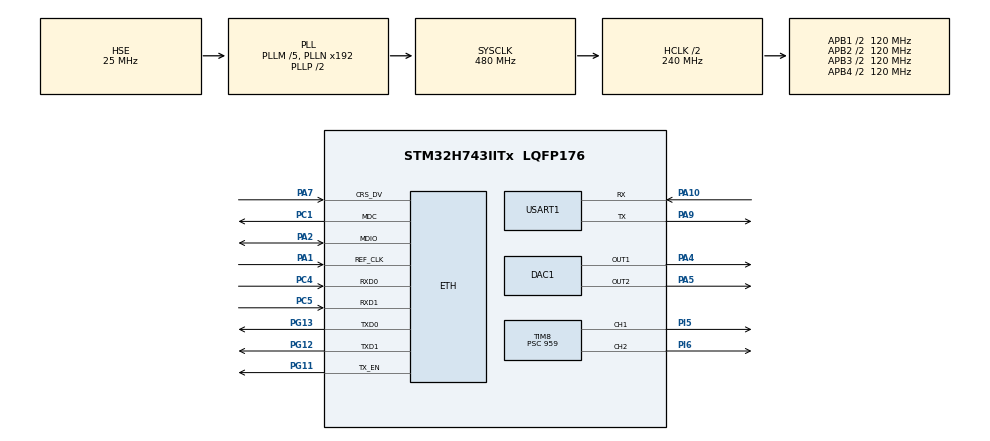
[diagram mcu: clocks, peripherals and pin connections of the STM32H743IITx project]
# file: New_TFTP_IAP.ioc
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CORTEX_M7.AccessPermission-Cortex_Memory_Protection_Unit_Region0_Settings=MPU_REGION_FULL_ACCESS
CORTEX_M7.AccessPermission-Cortex_Memory_Protection_Unit_Region1_Settings=MPU_REGION_FULL_ACCESS
CORTEX_M7.BaseAddress-Cortex_Memory_Protection_Unit_Region0_Settings=0x30040000
CORTEX_M7.BaseAddress-Cortex_Memory_Protection_Unit_Region1_Settings=0x30044000
CORTEX_M7.CPU_DCache=Enabled
CORTEX_M7.CPU_ICache=Enabled
CORTEX_M7.Enable-Cortex_Memory_Protection_Unit_Region0_Settings=MPU_REGION_ENABLE
CORTEX_M7.Enable-Cortex_Memory_Protection_Unit_Region1_Settings=MPU_REGION_ENABLE
CORTEX_M7.IsBufferable-Cortex_Memory_Protection_Unit_Region0_Settings=MPU_ACCESS_BUFFERABLE
CORTEX_M7.IsCacheable-Cortex_Memory_Protection_Unit_Region0_Settings=MPU_ACCESS_NOT_CACHEABLE
CORTEX_M7.IsCacheable-Cortex_Memory_Protection_Unit_Region1_Settings=MPU_ACCESS_CACHEABLE
CORTEX_M7.IsShareable-Cortex_Memory_Protection_Unit_Region0_Settings=MPU_ACCESS_NOT_SHAREABLE
CORTEX_M7.MPU_Control=MPU_PRIVILEGED_DEFAULT
CORTEX_M7.Size-Cortex_Memory_Protection_Unit_Region0_Settings=MPU_REGION_SIZE_256B
CORTEX_M7.Size-Cortex_Memory_Protection_Unit_Region1_Settings=MPU_REGION_SIZE_16KB
DAC1.DAC_Channel-DAC_OUT2=DAC_CHANNEL_2
DAC1.DAC_OutputBuffer-DAC_OUT1=DAC_OUTPUTBUFFER_DISABLE
DAC1.DAC_OutputBuffer-DAC_OUT2=DAC_OUTPUTBUFFER_DISABLE
Dma.DAC1_CH1.0.Direction=DMA_MEMORY_TO_PERIPH
Dma.DAC1_CH1.0.EventEnable=DISABLE
Dma.DAC1_CH1.0.FIFOMode=DMA_FIFOMODE_DISABLE
Dma.DAC1_CH1.0.Instance=DMA1_Stream2
Dma.DAC1_CH1.0.MemDataAlignment=DMA_MDATAALIGN_BYTE
Dma.DAC1_CH1.0.MemInc=DMA_MINC_ENABLE
Dma.DAC1_CH1.0.Mode=DMA_CIRCULAR
Dma.DAC1_CH1.0.PeriphDataAlignment=DMA_PDATAALIGN_BYTE
Dma.DAC1_CH1.0.PeriphInc=DMA_PINC_DISABLE
Dma.DAC1_CH1.0.Polarity=HAL_DMAMUX_REQ_GEN_RISING
Dma.DAC1_CH1.0.Priority=DMA_PRIORITY_LOW
Dma.DAC1_CH1.0.RequestNumber=1
Dma.DAC1_CH1.0.SignalID=NONE
Dma.DAC1_CH1.0.SyncEnable=DISABLE
Dma.DAC1_CH1.0.SyncPolarity=HAL_DMAMUX_SYNC_NO_EVENT
Dma.DAC1_CH1.0.SyncRequestNumber=1
Dma.DAC1_CH1.0.SyncSignalID=NONE
Dma.DAC1_CH2.1.Direction=DMA_MEMORY_TO_PERIPH
Dma.DAC1_CH2.1.EventEnable=DISABLE
Dma.DAC1_CH2.1.FIFOMode=DMA_FIFOMODE_DISABLE
Dma.DAC1_CH2.1.Instance=DMA2_Stream0
Dma.DAC1_CH2.1.MemDataAlignment=DMA_MDATAALIGN_BYTE
Dma.DAC1_CH2.1.MemInc=DMA_MINC_ENABLE
Dma.DAC1_CH2.1.Mode=DMA_CIRCULAR
Dma.DAC1_CH2.1.PeriphDataAlignment=DMA_PDATAALIGN_BYTE
Dma.DAC1_CH2.1.PeriphInc=DMA_PINC_DISABLE
Dma.DAC1_CH2.1.Polarity=HAL_DMAMUX_REQ_GEN_RISING
Dma.DAC1_CH2.1.Priority=DMA_PRIORITY_LOW
Dma.DAC1_CH2.1.RequestNumber=1
Dma.DAC1_CH2.1.SignalID=NONE
Dma.DAC1_CH2.1.SyncEnable=DISABLE
Dma.DAC1_CH2.1.SyncPolarity=HAL_DMAMUX_SYNC_NO_EVENT
Dma.DAC1_CH2.1.SyncRequestNumber=1
Dma.DAC1_CH2.1.SyncSignalID=NONE
Dma.Request0=DAC1_CH1
Dma.Request1=DAC1_CH2
ETH.MediaInterface=HAL_ETH_RMII_MODE
ETH.RxBuffLen=1524
LWIP.BSP.number=1
LWIP.GATEWAY_ADDRESS=192.168.001.001
LWIP.IP_ADDRESS=192.168.001.030
LWIP.LWIP_DHCP=0
LWIP.LWIP_SNTP=0
LWIP.LWIP_TFTP=0
LWIP.NETMASK_ADDRESS=255.255.255.000
LWIP.Version=v2.0.3_Cube
LWIP0.BSP.STBoard=false
LWIP0.BSP.api=BSP_COMPONENT_DRIVER
LWIP0.BSP.component=LAN8742
LWIP0.BSP.i2caddr=0
LWIP0.BSP.instance=LAN8742
LWIP0.BSP.name=Driver_PHY
LWIP0.BSP.solution=LAN8742
Mcu.Family=STM32H7
Mcu.Name=STM32H743IITx
Mcu.Package=LQFP176
NVIC.DMA1_Stream2_IRQn=true\:5\:0\:true\:false\:true\:false\:true
NVIC.DMA2_Stream0_IRQn=true\:5\:0\:true\:false\:true\:false\:true
NVIC.ETH_IRQn=true\:5\:0\:true\:false\:true\:true\:true
NVIC.PriorityGroup=NVIC_PRIORITYGROUP_4
PA1.GPIO_Speed=GPIO_SPEED_FREQ_VERY_HIGH
PA1.Mode=RMII
PA1.Signal=ETH_REF_CLK
PA10.GPIO_Speed=GPIO_SPEED_FREQ_VERY_HIGH
PA10.Mode=Asynchronous
PA10.Signal=USART1_RX
PA13\ (JTMS/SWDIO).Mode=Serial_Wire
PA13\ (JTMS/SWDIO).Signal=DEBUG_JTMS-SWDIO
PA14\ (JTCK/SWCLK).Mode=Serial_Wire
PA14\ (JTCK/SWCLK).Signal=DEBUG_JTCK-SWCLK
PA2.GPIO_Speed=GPIO_SPEED_FREQ_VERY_HIGH
PA2.Mode=RMII
PA2.Signal=ETH_MDIO
PA4.Signal=COMP_DAC11_group
PA5.Signal=COMP_DAC12_group
PA7.GPIO_Speed=GPIO_SPEED_FREQ_VERY_HIGH
PA7.Mode=RMII
PA7.Signal=ETH_CRS_DV
PA9.GPIO_Speed=GPIO_SPEED_FREQ_VERY_HIGH
PA9.Mode=Asynchronous
PA9.Signal=USART1_TX
PC1.GPIO_Speed=GPIO_SPEED_FREQ_LOW
PC1.Mode=RMII
PC1.Signal=ETH_MDC
PC4.GPIO_Speed=GPIO_SPEED_FREQ_VERY_HIGH
PC4.Mode=RMII
PC4.Signal=ETH_RXD0
PC5.GPIO_Speed=GPIO_SPEED_FREQ_VERY_HIGH
PC5.Mode=RMII
PC5.Signal=ETH_RXD1
PG11.GPIO_Speed=GPIO_SPEED_FREQ_VERY_HIGH
PG11.Mode=RMII
PG11.Signal=ETH_TX_EN
PG12.GPIO_Speed=GPIO_SPEED_FREQ_VERY_HIGH
PG12.Mode=RMII
PG12.Signal=ETH_TXD1
PG13.GPIO_Speed=GPIO_SPEED_FREQ_VERY_HIGH
PG13.Mode=RMII
PG13.Signal=ETH_TXD0
PH0-OSC_IN\ (PH0).Mode=HSE-External-Oscillator
PH0-OSC_IN\ (PH0).Signal=RCC_OSC_IN
PH1-OSC_OUT\ (PH1).Mode=HSE-External-Oscillator
PH1-OSC_OUT\ (PH1).Signal=RCC_OSC_OUT
PI5.Signal=S_TIM8_CH1
PI6.Signal=S_TIM8_CH2
ProjectManager.HeapSize=0x2000
ProjectManager.StackSize=0x2000
ProjectManager.TargetToolchain=MDK-ARM V5
RCC.ADCFreq_Value=252000000
RCC.APB1Freq_Value=120000000
RCC.APB2Freq_Value=120000000
RCC.APB3Freq_Value=120000000
RCC.APB4Freq_Value=120000000
RCC.CortexFreq_Value=480000000
RCC.D1PPRE=RCC_APB3_DIV2
RCC.D2PPRE1=RCC_APB1_DIV2
RCC.D2PPRE2=RCC_APB2_DIV2
RCC.D3PPRE=RCC_APB4_DIV2
RCC.DIVM1=5
RCC.DIVM2=25
RCC.DIVM3=5
RCC.DIVN1=192
RCC.DIVN2=504
RCC.DIVN3=192
RCC.DIVQ2=7
RCC.HCLKFreq_Value=240000000
RCC.HPRE=RCC_HCLK_DIV2
RCC.PLLFRACN=0
RCC.PLLSourceVirtual=RCC_PLLSOURCE_HSE
RCC.SYSCLKFreq_VALUE=480000000
RCC.SYSCLKSource=RCC_SYSCLKSOURCE_PLLCLK
RCC.SupplySource=PWR_LDO_SUPPLY
RCC.USBFreq_Value=480000000
SH.COMP_DAC11_group.0=DAC1_OUT1,DAC_OUT1
SH.COMP_DAC12_group.0=DAC1_OUT2,DAC_OUT2
SH.S_TIM8_CH1.0=TIM8_CH1,PWM Generation1 CH1
SH.S_TIM8_CH2.0=TIM8_CH2,PWM Generation2 CH2
TIM8.Channel-PWM\ Generation1\ CH1=TIM_CHANNEL_1
TIM8.Channel-PWM\ Generation2\ CH2=TIM_CHANNEL_2
TIM8.Period=999
TIM8.Prescaler=959
TIM8.Pulse-PWM\ Generation1\ CH1=550
TIM8.Pulse-PWM\ Generation2\ CH2=250
USART1.FIFOMode=FIFOMODE_ENABLE
USART1.VirtualMode-Asynchronous=VM_ASYNC
VP_LWIP_VS_Enabled.Mode=Enabled
VP_TIM8_VS_ClockSourceINT.Mode=Internal
board=custom

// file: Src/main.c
/* USER CODE BEGIN Header */
/**
  ******************************************************************************
  * @file           : main.c
  * @brief          : Main program body
  ******************************************************************************
  * @attention
  *
  * <h2><center>&copy; Copyright (c) 2023 STMicroelectronics.
  * All rights reserved.</center></h2>
  *
  * This software component is licensed by ST under Ultimate Liberty license
  * SLA0044, the "License"; You may not use this file except in compliance with
  * the License. You may obtain a copy of the License at:
  *                             www.st.com/SLA0044
  *
  ******************************************************************************
  */
/* USER CODE END Header */

#include "main.h"
#include "dac.h"
#include "dma.h"
#include "lwip.h"
#include "tim.h"
#include "usart.h"
#include "gpio.h"

/* USER CODE BEGIN Includes */
#include "tcpclient.h"
#include "tcpserver.h"

#include "tcp_echoserver.h"
#include "tftpserver.h"
#include "iap.h"

#include "bsp_dac.h"
#include "bsp_pwm.h"
/* USER CODE END Includes */

/* USER CODE BEGIN PD */
#define DELAY_TIME 10     //10ms
#define WAIT_TIME  3000  //3s=5000ms
#define WAIT_FREQUENCY WAIT_TIME/DELAY_TIME
#define PER_SECOND_FREQUENVY (1000/DELAY_TIME)
/* USER CODE END PD */

/* USER CODE BEGIN PV */
extern struct netif gnetif;
extern u8_t upload_flag;
u32_t JUMP_FLASH_APP1_ADDR=0x08020000;  	//第一个应用程序起始地址(存放在FLASH)
/* USER CODE END PV */

void SystemClock_Config(void);
static void MPU_Config(void);

int main(void)
{
  /* USER CODE BEGIN 1 */
	u32 t=0;
	u32 wait_time=WAIT_TIME/DELAY_TIME/PER_SECOND_FREQUENVY; //等待时间
	u8 tcp_server_sendbuf[200]; //发送缓冲区
	u8* tcp_recv_data; //接收缓存
	u8 tcp_server_flag;	 //tcp接收标志
	u8 tcp_connect_flag=0; //连接标志
	u8 wait_flag=1; //等待标志
	u8 is_oneshot = 0;
  /* USER CODE END 1 */

  /* MPU Configuration--------------------------------------------------------*/
  MPU_Config();

  /* Enable I-Cache---------------------------------------------------------*/
  SCB_EnableICache();

  /* Enable D-Cache---------------------------------------------------------*/
  SCB_EnableDCache();

  /* MCU Configuration--------------------------------------------------------*/

  /* Reset of all peripherals, Initializes the Flash interface and the Systick. */
  HAL_Init();

  /* Configure the system clock */
  SystemClock_Config();

  /* USER CODE BEGIN SysInit */
	HAL_Delay(100);
	SCB->CACR|=1<<2;   //强制D-Cache透写,如不开启,实际使用中可能遇到各种问题
  /* USER CODE END SysInit */

  /* Initialize all configured peripherals */
  MX_GPIO_Init();
  MX_DMA_Init();
  MX_USART1_UART_Init();
  MX_LWIP_Init();
  MX_DAC1_Init();
  MX_TIM8_Init();
  /* USER CODE BEGIN 2 */
	printf("This is a TFTP IAP test\r\n");
	tftp_server_init();
	tcp_echoserver_init();
	Track_Motor_Init();
	pwm_init();
	//TCP_Client_Init();
	//TCP_Echo_Init();
  /* USER CODE END 2 */

  /* Infinite loop */
  /* USER CODE BEGIN WHILE */
  while (1)
  {
		/* 获取STM32H743服务器接收到的数据和标志位 */
		get_tcp_recv_data_flag(&tcp_recv_data,&tcp_server_flag);

		/* 检测是否有客户端连接到STM32H743服务器，如果连接，则设置tcp_connect_flag为1 */
		if(tcp_server_flag&1<<5) tcp_connect_flag=1;
		else tcp_connect_flag=0;
    /* USER CODE END WHILE */

    /* USER CODE BEGIN 3 */
		if(tcp_connect_flag==1)
		{
			if(wait_flag==1)	t++;
			if(t%PER_SECOND_FREQUENVY==0)
			{
				wait_time--;
				if(wait_flag == 1)
				{
					sprintf((char*)tcp_server_sendbuf,"Wait Time: %ds\r\n",wait_time);
					tcp_server_usersent(tcp_server_sendbuf,32);
					ethernetif_input(&gnetif);
					sys_check_timeouts();
				}

				if(upload_flag==1)
				{
					if(is_oneshot == 0)
					{
						is_oneshot = 1;
						wait_flag=0;
						sprintf((char*)tcp_server_sendbuf,"Start Write File...\r\n");
						tcp_server_usersent(tcp_server_sendbuf,32);
						ethernetif_input(&gnetif);
						sys_check_timeouts();
					}
					t=0;
					wait_time=WAIT_TIME/DELAY_TIME/PER_SECOND_FREQUENVY;
				}
				else if(upload_flag==2)
				{
					sprintf((char*)tcp_server_sendbuf,"Write File Finish!\r\n");
					tcp_server_usersent(tcp_server_sendbuf,32);
					ethernetif_input(&gnetif);
					sys_check_timeouts();
					t=0;
					wait_time=WAIT_TIME/DELAY_TIME/PER_SECOND_FREQUENVY;
					wait_flag=1;
					upload_flag=0;
				}
			}

			if(t==WAIT_FREQUENCY)
			{
				if(((*(vu32*)(JUMP_FLASH_APP1_ADDR+4))&0xFF000000)==0x08000000)
				{
					HAL_DAC_Stop_DMA(&hdac1, DAC_CHANNEL_1);
					HAL_DAC_Stop_DMA(&hdac1, DAC_CHANNEL_2);
					SysTick->CTRL = 0x00;  //禁止SysTick
					SysTick->LOAD = 0;
					SysTick->VAL  = 0;
					__disable_irq(); //禁止全局中断
					iap_load_app(JUMP_FLASH_APP1_ADDR);
				}
				else
				{
					sprintf((char*)tcp_server_sendbuf,"Illegal FLASH APP\r\n");
					tcp_server_usersent(tcp_server_sendbuf,32);
					ethernetif_input(&gnetif);
					sys_check_timeouts();
				}
			}
		}

		HAL_Delay(DELAY_TIME);

		MX_LWIP_Process();
 }
  /* USER CODE END 3 */
}

void SystemClock_Config(void)
{
  RCC_OscInitTypeDef RCC_OscInitStruct = {0};
  RCC_ClkInitTypeDef RCC_ClkInitStruct = {0};
  RCC_PeriphCLKInitTypeDef PeriphClkInitStruct = {0};

  /** Supply configuration update enable
  */
  HAL_PWREx_ConfigSupply(PWR_LDO_SUPPLY);
  /** Configure the main internal regulator output voltage
  */
  __HAL_PWR_VOLTAGESCALING_CONFIG(PWR_REGULATOR_VOLTAGE_SCALE0);

  while(!__HAL_PWR_GET_FLAG(PWR_FLAG_VOSRDY)) {}
  /** Initializes the CPU, AHB and APB busses clocks
  */
  RCC_OscInitStruct.OscillatorType = RCC_OSCILLATORTYPE_HSE;
  RCC_OscInitStruct.HSEState = RCC_HSE_ON;
  RCC_OscInitStruct.PLL.PLLState = RCC_PLL_ON;
  RCC_OscInitStruct.PLL.PLLSource = RCC_PLLSOURCE_HSE;
  RCC_OscInitStruct.PLL.PLLM = 5;
  RCC_OscInitStruct.PLL.PLLN = 192;
  RCC_OscInitStruct.PLL.PLLP = 2;
  RCC_OscInitStruct.PLL.PLLQ = 2;
  RCC_OscInitStruct.PLL.PLLR = 2;
  RCC_OscInitStruct.PLL.PLLRGE = RCC_PLL1VCIRANGE_2;
  RCC_OscInitStruct.PLL.PLLVCOSEL = RCC_PLL1VCOWIDE;
  RCC_OscInitStruct.PLL.PLLFRACN = 0;
  if (HAL_RCC_OscConfig(&RCC_OscInitStruct) != HAL_OK)
  {
    Error_Handler();
  }
  /** Initializes the CPU, AHB and APB busses clocks
  */
  RCC_ClkInitStruct.ClockType = RCC_CLOCKTYPE_HCLK|RCC_CLOCKTYPE_SYSCLK
                              |RCC_CLOCKTYPE_PCLK1|RCC_CLOCKTYPE_PCLK2
                              |RCC_CLOCKTYPE_D3PCLK1|RCC_CLOCKTYPE_D1PCLK1;
  RCC_ClkInitStruct.SYSCLKSource = RCC_SYSCLKSOURCE_PLLCLK;
  RCC_ClkInitStruct.SYSCLKDivider = RCC_SYSCLK_DIV1;
  RCC_ClkInitStruct.AHBCLKDivider = RCC_HCLK_DIV2;
  RCC_ClkInitStruct.APB3CLKDivider = RCC_APB3_DIV2;
  RCC_ClkInitStruct.APB1CLKDivider = RCC_APB1_DIV2;
  RCC_ClkInitStruct.APB2CLKDivider = RCC_APB2_DIV2;
  RCC_ClkInitStruct.APB4CLKDivider = RCC_APB4_DIV2;

  if (HAL_RCC_ClockConfig(&RCC_ClkInitStruct, FLASH_LATENCY_4) != HAL_OK)
  {
    Error_Handler();
  }
  PeriphClkInitStruct.PeriphClockSelection = RCC_PERIPHCLK_USART1;
  PeriphClkInitStruct.Usart16ClockSelection = RCC_USART16CLKSOURCE_D2PCLK2;
  if (HAL_RCCEx_PeriphCLKConfig(&PeriphClkInitStruct) != HAL_OK)
  {
    Error_Handler();
  }
}

/* MPU Configuration */

void MPU_Config(void)
{
  MPU_Region_InitTypeDef MPU_InitStruct = {0};

  /* Disables the MPU */
  HAL_MPU_Disable();
  /** Initializes and configures the Region and the memory to be protected
  */
  MPU_InitStruct.Enable = MPU_REGION_ENABLE;
  MPU_InitStruct.Number = MPU_REGION_NUMBER0;
  MPU_InitStruct.BaseAddress = 0x30040000;
  MPU_InitStruct.Size = MPU_REGION_SIZE_256B;
  MPU_InitStruct.SubRegionDisable = 0x0;
  MPU_InitStruct.TypeExtField = MPU_TEX_LEVEL0;
  MPU_InitStruct.AccessPermission = MPU_REGION_FULL_ACCESS;
  MPU_InitStruct.DisableExec = MPU_INSTRUCTION_ACCESS_ENABLE;
  MPU_InitStruct.IsShareable = MPU_ACCESS_NOT_SHAREABLE;
  MPU_InitStruct.IsCacheable = MPU_ACCESS_NOT_CACHEABLE;
  MPU_InitStruct.IsBufferable = MPU_ACCESS_BUFFERABLE;

  HAL_MPU_ConfigRegion(&MPU_InitStruct);
  /** Initializes and configures the Region and the memory to be protected
  */
  MPU_InitStruct.Enable = MPU_REGION_ENABLE;
  MPU_InitStruct.Number = MPU_REGION_NUMBER1;
  MPU_InitStruct.BaseAddress = 0x30044000;
  MPU_InitStruct.Size = MPU_REGION_SIZE_16KB;
  MPU_InitStruct.SubRegionDisable = 0x0;
  MPU_InitStruct.TypeExtField = MPU_TEX_LEVEL0;
  MPU_InitStruct.AccessPermission = MPU_REGION_FULL_ACCESS;
  MPU_InitStruct.DisableExec = MPU_INSTRUCTION_ACCESS_ENABLE;
  MPU_InitStruct.IsShareable = MPU_ACCESS_NOT_SHAREABLE;
  MPU_InitStruct.IsCacheable = MPU_ACCESS_CACHEABLE;
  MPU_InitStruct.IsBufferable = MPU_ACCESS_NOT_BUFFERABLE;

  HAL_MPU_ConfigRegion(&MPU_InitStruct);
  /* Enables the MPU */
  HAL_MPU_Enable(MPU_PRIVILEGED_DEFAULT);

}

void Error_Handler(void)
{
}

/************************ (C) COPYRIGHT STMicroelectronics *****END OF FILE****/
